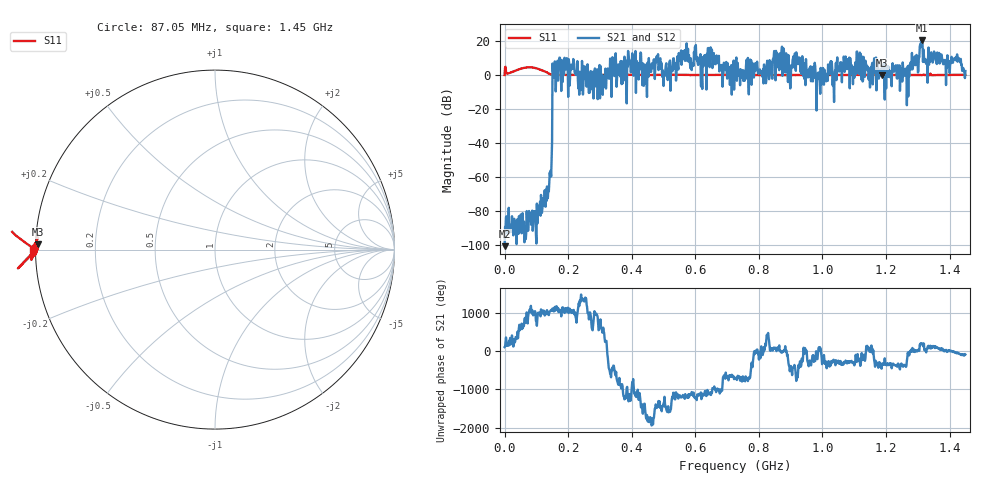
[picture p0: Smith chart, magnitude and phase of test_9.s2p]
! Created with skrf 1.11.0 (http://scikit-rf.org).
# Hz S RI R 50.0
!freq ReS11 ImS11 ReS21 ImS21 ReS12 ImS12 ReS22 ImS22
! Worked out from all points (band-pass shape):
!   1001 points, 50 kHz to 1.45 GHz, reference 50 ohm
!   highest |S21| = 20.34 dB at 1.314 GHz (marker M1); lowest = -100.7 dB at 50 kHz (marker M2)
!   |S21| within 3 dB of the highest: 572.5946 MHz to 573.093 MHz (498.4 kHz wide, 0.087 % of centre); 1.312346 GHz to 1.315278 GHz (2.933 MHz wide, 0.223 % of centre) (the widest 2 of 5)
!   lowest |S11| = -0.1 dB at 1.186 GHz (marker M3), VSWR 149.59, Z = 0.334 + j0.763 ohm
!   |S11| at or under -10 dB: nowhere
!   |S22| runs from - to - dB; largest |S21 - S12| = 0
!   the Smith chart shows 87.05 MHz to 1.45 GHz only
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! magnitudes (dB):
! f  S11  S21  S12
! 50 kHz  0.0  -100.7  -100.7
! 124.7 MHz  2.2  -77.1  -77.1
! 142.1 MHz  0.6  -57.4  -57.4
! 158.1 MHz  0.0  8.0  8.0
! 242.2 MHz  0.1  -2.8  -2.8
! 307.4 MHz  0.0  -4.1  -4.1
! 395.9 MHz  0.1  5.4  5.4
! 440.8 MHz  0.0  6.2  6.2
! 484.3 MHz  0.1  2.9  2.9
! 506.1 MHz  0.1  3.2  3.2
! 603.2 MHz  0.0  9.7  9.7
! 614.8 MHz  0.0  10.7  10.7
! 645.3 MHz  0.1  4.6  4.6
! 725 MHz  0.0  4.2  4.2
! 816.4 MHz  0.0  6.2  6.2
! 872.9 MHz  0.0  16.7  16.7
! 967.2 MHz  0.0  4.2  4.2
! 1.186 GHz  -0.1  -0.5  -0.5
! 1.209 GHz  0.0  -1.0  -1.0
! 1.267 GHz  0.1  -0.9  -0.9
! 1.314 GHz  -0.1  20.3  20.3
! 1.45 GHz  0.1  2.3  2.3
